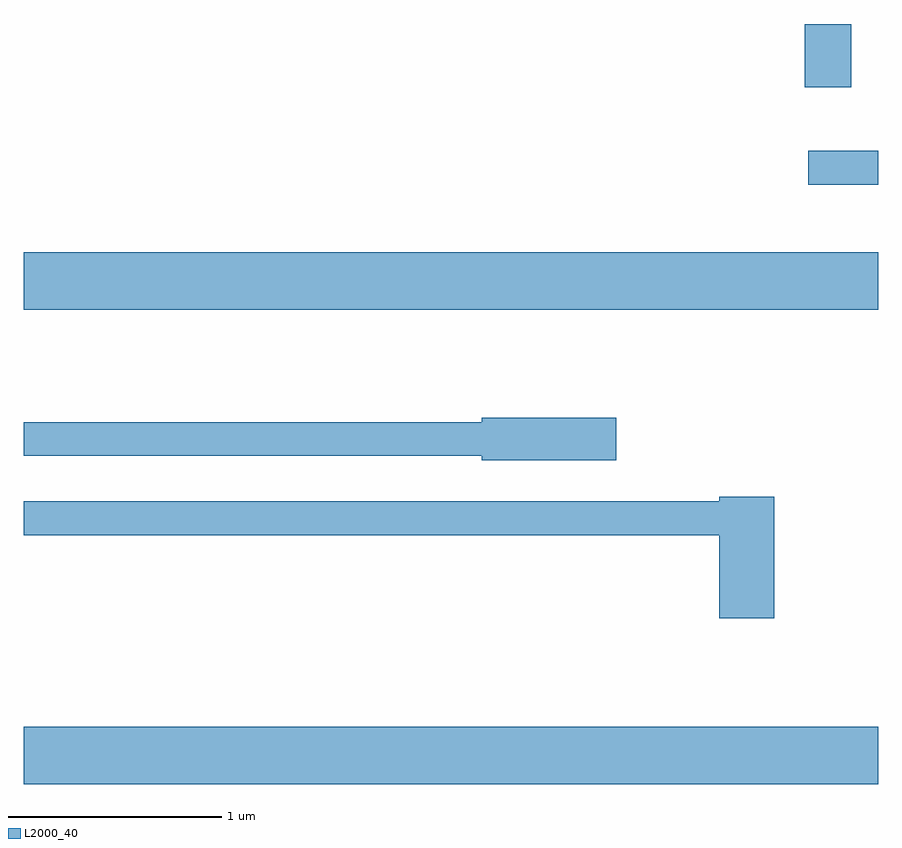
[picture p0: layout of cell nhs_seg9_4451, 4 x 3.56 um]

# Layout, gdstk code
import gdstk
lib = gdstk.Library(unit=1e-6, precision=1e-09)
def R(c, l, rs):  # rectangles x0, y0, x1, y1
    for r in rs: c.add(gdstk.rectangle(r[:2], r[2:], *l))
def P(c, l, *ps):  # polygons
    for p in ps: c.add(gdstk.Polygon(p, *l))
L2000_40 = (2000, 40)

nhs_seg9_4451 = lib.new_cell('nhs_seg9_4451')
R(nhs_seg9_4451, L2000_40, [(315.611,2042.876,319.611,2043.144), (315.611,2045.096,319.611,2045.364), (319.283,2045.681,319.611,2045.839), (319.266,2046.136,319.484,2046.432)])
P(nhs_seg9_4451, L2000_40, [(318.384,2044.589),(317.756,2044.589),(317.756,2044.569),(315.611,2044.569),(315.611,2044.411),(317.756,2044.411),(317.756,2044.391),(318.384,2044.391)],
  [(319.124,2044.219),(318.866,2044.219),(318.866,2044.199),(315.611,2044.199),(315.611,2044.041),(318.866,2044.041),(318.866,2043.651),(319.124,2043.651)])

lib.write_gds('nhs_seg9_4451.gds')
